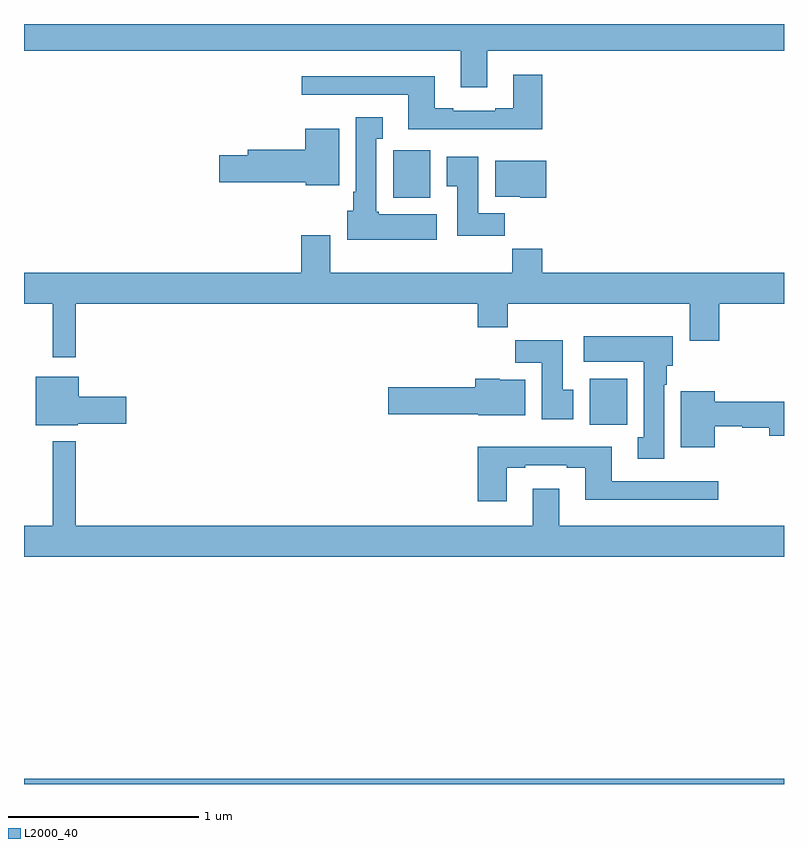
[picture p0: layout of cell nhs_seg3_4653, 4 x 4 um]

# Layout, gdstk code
import gdstk
lib = gdstk.Library(unit=1e-6, precision=1e-09)
def R(c, l, rs):  # rectangles x0, y0, x1, y1
    for r in rs: c.add(gdstk.rectangle(r[:2], r[2:], *l))
def P(c, l, *ps):  # polygons
    for p in ps: c.add(gdstk.Polygon(p, *l))
L2000_40 = (2000, 40)

nhs_seg3_4653 = lib.new_cell('nhs_seg3_4653')
R(nhs_seg3_4653, L2000_40, [(361,686.4,365,686.428), (363.977,688.292,364.174,688.534), (362.943,689.486,363.139,689.736)])
P(nhs_seg3_4653, L2000_40, [(363.439,690.26),(365,690.26),(365,690.4),(361,690.4),(361,690.26),(363.299,690.26),(363.299,690.066),(363.439,690.066)],
  [(363.728,690.133),(363.575,690.133),(363.575,689.956),(363.479,689.956),(363.479,689.943),(363.259,689.943),(363.259,689.956),(363.163,689.956),(363.163,690.124),(362.463,690.124),(362.463,690.027),(363.023,690.027),(363.023,689.846),(363.728,689.846)],
  [(363.172,689.398),(362.868,689.398),(362.868,689.412),(362.854,689.412),(362.854,689.795),(362.887,689.795),(362.887,689.908),(362.747,689.908),(362.747,689.518),(362.732,689.518),(362.732,689.418),(362.702,689.418),(362.702,689.264),(363.172,689.264)],
  [(362.659,689.848),(362.48,689.848),(362.48,689.738),(362.177,689.738),(362.177,689.708),(362.028,689.708),(362.028,689.566),(362.484,689.566),(362.484,689.552),(362.659,689.552)],
  [(363.53,689.404),(363.391,689.404),(363.391,689.701),(363.224,689.701),(363.224,689.545),(363.281,689.545),(363.281,689.286),(363.53,689.286)],
  [(363.748,689.68),(363.479,689.68),(363.479,689.492),(363.612,689.492),(363.612,689.486),(363.748,689.486)],
  [(361.273,688.928),(363.389,688.928),(363.389,688.804),(363.545,688.804),(363.545,688.928),(364.505,688.928),(364.505,688.734),(364.658,688.734),(364.658,688.928),(365,688.928),(365,689.092),(363.728,689.092),(363.728,689.216),(363.571,689.216),(363.571,689.092),(362.611,689.092),(362.611,689.287),(362.459,689.287),(362.459,689.092),(361,689.092),(361,688.928),(361.151,688.928),(361.151,688.647),(361.273,688.647)],
  [(364.369,688.502),(364.384,688.502),(364.384,688.602),(364.414,688.602),(364.414,688.756),(363.945,688.756),(363.945,688.622),(364.262,688.622),(364.262,688.226),(364.229,688.226),(364.229,688.113),(364.369,688.113)],
  [(363.892,688.476),(363.835,688.476),(363.835,688.735),(363.586,688.735),(363.586,688.616),(363.725,688.616),(363.725,688.32),(363.892,688.32)],
  [(361.284,688.295),(361.537,688.295),(361.537,688.437),(361.288,688.437),(361.288,688.543),(361.061,688.543),(361.061,688.289),(361.284,688.289)],
  [(363.637,688.528),(363.504,688.528),(363.504,688.534),(363.374,688.534),(363.374,688.488),(362.916,688.488),(362.916,688.346),(363.39,688.346),(363.39,688.34),(363.637,688.34)],
  [(364.636,688.284),(364.779,688.284),(364.779,688.276),(364.922,688.276),(364.922,688.234),(365,688.234),(365,688.412),(364.636,688.412),(364.636,688.468),(364.457,688.468),(364.457,688.172),(364.636,688.172)],
  [(365,687.76),(363.817,687.76),(363.817,687.955),(363.677,687.955),(363.677,687.76),(361.273,687.76),(361.273,688.204),(361.151,688.204),(361.151,687.76),(361,687.76),(361,687.596),(365,687.596)],
  [(363.541,688.065),(363.637,688.065),(363.637,688.077),(363.857,688.077),(363.857,688.065),(363.953,688.065),(363.953,687.896),(364.654,687.896),(364.654,687.993),(364.093,687.993),(364.093,688.174),(363.389,688.174),(363.389,687.888),(363.541,687.888)])

lib.write_gds('nhs_seg3_4653.gds')
